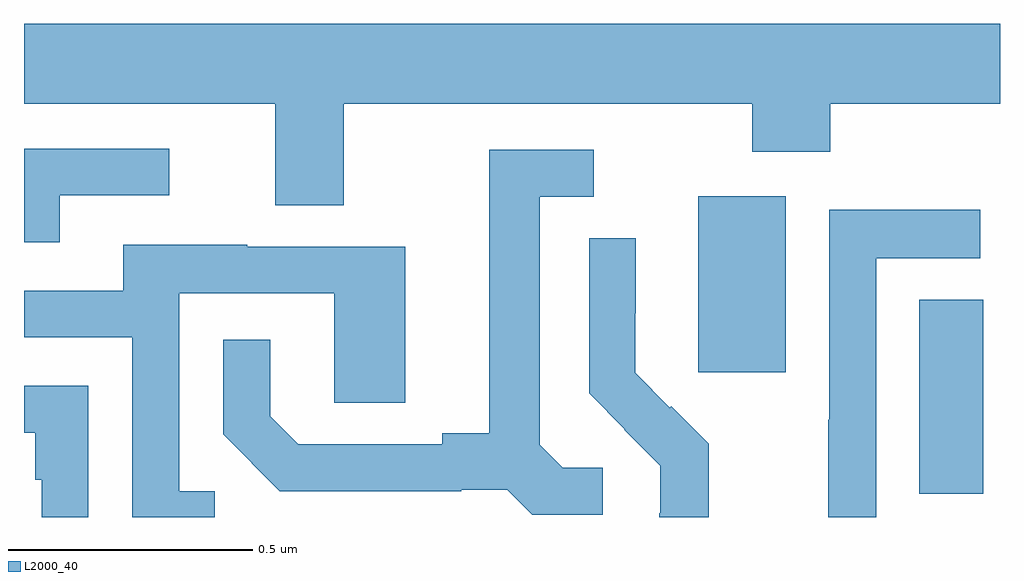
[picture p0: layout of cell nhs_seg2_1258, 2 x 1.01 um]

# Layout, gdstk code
import gdstk
lib = gdstk.Library(unit=1e-6, precision=1e-09)
def R(c, l, rs):  # rectangles x0, y0, x1, y1
    for r in rs: c.add(gdstk.rectangle(r[:2], r[2:], *l))
def P(c, l, *ps):  # polygons
    for p in ps: c.add(gdstk.Polygon(p, *l))
L2000_40 = (2000, 40)

nhs_seg2_1258 = lib.new_cell('nhs_seg2_1258')
R(nhs_seg2_1258, L2000_40, [(127.835,634.849,127.966,635.246), (127.382,635.097,127.561,635.458)])
P(nhs_seg2_1258, L2000_40, [(126.655,635.648),(127.492,635.648),(127.492,635.549),(127.652,635.549),(127.652,635.648),(128,635.648),(128,635.812),(126,635.812),(126,635.648),(126.515,635.648),(126.515,635.44),(126.655,635.44)],
  [(126.073,635.46),(126.298,635.46),(126.298,635.556),(126,635.556),(126,635.364),(126.073,635.364)],
  [(127.186,634.902),(127.104,634.902),(127.057,634.949),(127.057,635.457),(127.168,635.457),(127.168,635.553),(126.953,635.553),(126.953,634.973),(126.857,634.973),(126.857,634.95),(126.562,634.95),(126.505,635.007),(126.505,635.164),(126.408,635.164),(126.408,634.97),(126.524,634.854),(126.896,634.854),(126.896,634.857),(126.99,634.857),(127.042,634.805),(127.186,634.805)],
  [(127.746,635.331),(127.96,635.331),(127.96,635.43),(127.65,635.43),(127.65,635),(127.648,635),(127.648,634.8),(127.746,634.8)],
  [(127.403,634.951),(127.326,635.028),(127.323,635.025),(127.253,635.096),(127.253,635.218),(127.254,635.218),(127.254,635.372),(127.158,635.372),(127.158,635.054),(127.231,634.981),(127.23,634.98),(127.304,634.906),(127.304,634.809),(127.302,634.809),(127.302,634.8),(127.403,634.8)],
  [(126.391,634.854),(126.318,634.854),(126.318,635.259),(126.636,635.259),(126.636,635.035),(126.781,635.035),(126.781,635.355),(126.457,635.355),(126.457,635.359),(126.203,635.359),(126.203,635.265),(126,635.265),(126,635.169),(126.222,635.169),(126.222,634.8),(126.391,634.8)],
  [(126.132,635.07),(126,635.07),(126,634.974),(126.023,634.974),(126.023,634.877),(126.036,634.877),(126.036,634.8),(126.132,634.8)])

lib.write_gds('nhs_seg2_1258.gds')
